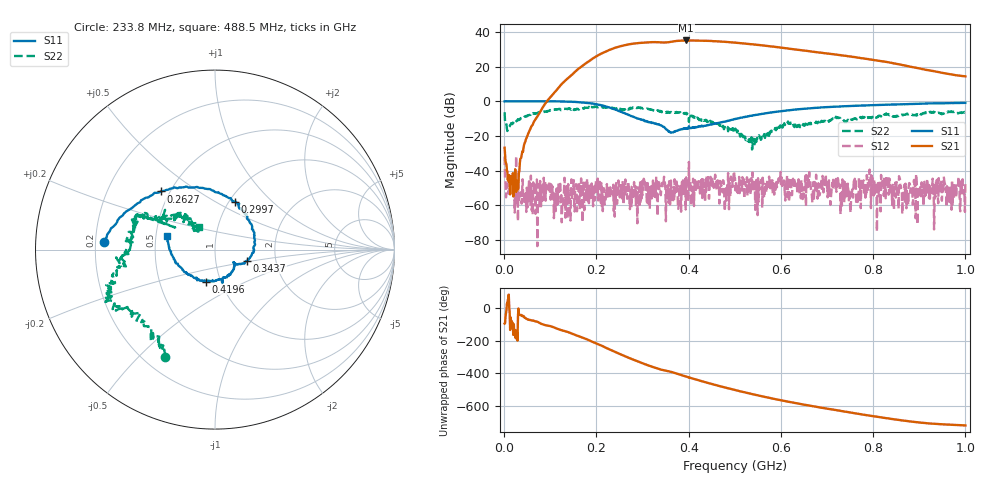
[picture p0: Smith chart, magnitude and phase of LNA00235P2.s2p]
! Created with skrf 1.9.0 (http://scikit-rf.org).
# Hz S RI R 50.0
!freq ReS11 ImS11 ReS21 ImS21 ReS12 ImS12 ReS22 ImS22
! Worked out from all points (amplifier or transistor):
!   1001 points, 1 MHz to 1 GHz, reference 50 ohm
!   highest |S21| = 35.1 dB at 394.6 MHz (marker M1)
!   |S21| within 3 dB of that: 257.1 MHz to 565.6 MHz (308.5 MHz wide, 75 % of centre)
!   unconditionally stable (mu >= 1): 26.55 MHz to 57.81 MHz; 207.9 MHz to 400.4 MHz; 400.9 MHz to end of sweep (the widest 3 of 24)
!   at 166.8 MHz: K = 1.26, MAG = 29.1 dB, |S12| = -44.5 dB
!   at 500.5 MHz: K = 1.59, MAG = 34.6 dB, |S12| = -44.4 dB
!   at 1 GHz: K = 2.71, MAG = 22.8 dB, |S12| = -45.7 dB
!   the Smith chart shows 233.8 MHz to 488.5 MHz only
!   S11 on the Smith chart (normalised r, x): 233.8 MHz: 0.23, +0.03; 262.7 MHz: 0.45, +0.36; 299.7 MHz: 1.07, +0.62; 343.7 MHz: 1.42, -0.18; 419.6 MHz: 0.85, -0.32; 488.5 MHz: 0.57, +0.10
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1000000  0.9932 0.00593  -0.00287 -0.0454  -0.0247 0.00632  0.3467 0.3314
1.08892e8  0.5091 -0.8561  -0.8455 -1.566  0.000871 -0.000851  0.423 -0.395
1.67833e8  -0.2558 -0.8918  -10.17 -0.4575  -0.00264 -0.000799  0.0332 -0.633
2.05795e8  -0.6634 -0.4329  -16.05 15.01  -0.00311 0.000252  -0.1912 -0.6625
2.33767e8  -0.6196 0.0425  -5.729 31.87  -0.000671 -0.00219  -0.2764 -0.5978
2.62738e8  -0.3033 0.3238  17.9 37.54  -0.0055 -9.25e-05  -0.4131 -0.3522
2.8072e8  -0.0758 0.3442  33.37 31.81  -0.00298 0.00102  -0.5581 -0.3018
2.99701e8  0.1109 0.2653  45.4 18.74  0.000388 0.00189  -0.58 -0.2358
3.34666e8  0.2186 -0.00153  49.28 -10.94  -0.00499 0.00155  -0.5156 -0.0305
3.43657e8  0.1792 -0.0616  46.9 -16.72  -0.00272 0.00169  -0.5038 -0.0198
3.71629e8  0.1086 -0.0824  42.36 -34.28  1.8e-06 0.00235  -0.4316 0.1555
3.94606e8  0.0653 -0.1553  28.34 -49.27  -0.000138 0.00635  -0.4165 0.2028
4.19581e8  -0.0487 -0.1783  8.584 -55.8  -1.61e-05 0.00265  -0.2683 0.1884
4.5055e8  -0.1859 -0.1033  -15.02 -52.79  0.00351 0.000801  -0.1539 0.187
4.88512e8  -0.2663 0.0776  -35.37 -36.26  0.00443 -0.0007  -0.0871 0.1259
5.005e8  -0.2746 0.1409  -39.35 -29.89  -3.17e-05 0.00606  -0.0893 0.119
5.39461e8  -0.1895 0.3416  -43.04 -8.224  0.00355 -0.000198  -0.0819 0.00286
5.84416e8  0.00584 0.4853  -36.07 10.91  0.00364 -0.00218  -0.1335 -0.0566
6.67333e8  0.4015 0.4886  -12.77 23.77  0.000545 -0.00167  -0.2245 -0.054
7.55245e8  0.6797 0.2707  4.401 18.57  -0.00288 0.000229  -0.3 0.0344
8.34166e8  0.7973 0.0165  9.889 8.766  0.00202 0.00051  -0.4005 0.0351
1e9  0.7272 -0.5263  5.233 -0.076  -0.00518 0.000429  -0.2989 0.3694
